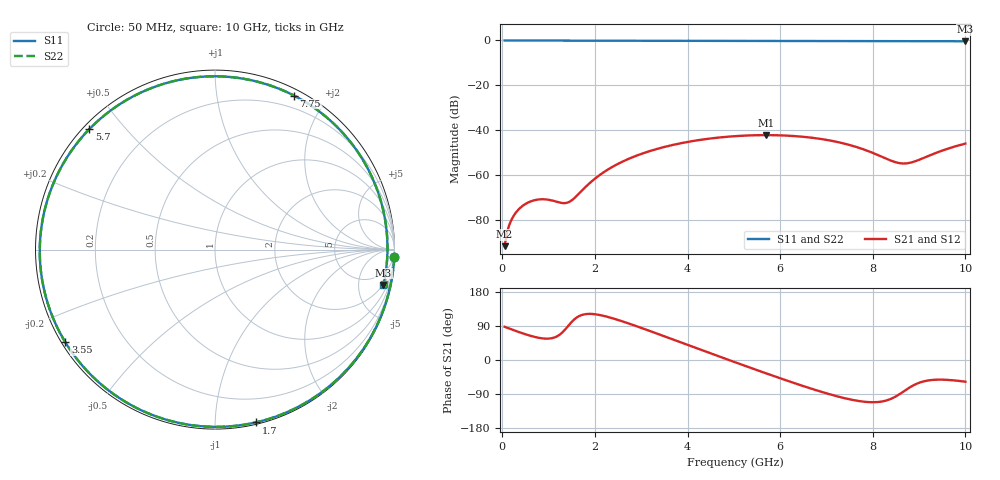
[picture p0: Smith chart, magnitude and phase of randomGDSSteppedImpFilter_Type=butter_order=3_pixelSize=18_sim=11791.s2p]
! freq	dB(S11)	phase(S11)	dB(S12)	phase(S12)
!  dB(S21)	phase(S21)	dB(S22)	phase(S22)
!S-par simulation data
#  GHz  S  DB  R 50
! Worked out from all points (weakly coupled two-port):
!   200 points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, 50 MHz to 10 GHz, reference 50 ohm
!   highest |S21| = -42.21 dB at 5.7 GHz (marker M1); lowest = -91.7 dB at 50 MHz (marker M2)
!   lowest |S11| = -0.4 dB at 10 GHz (marker M3), VSWR 47.53, Z = 94.8 - j462 ohm
!   |S11| at or under -10 dB: nowhere
!   |S22| runs from -0.4 to 0.0 dB; largest |S21 - S12| = 0
!   S11 on the Smith chart (normalised r, x): 50 MHz: 0, -48; 1.7 GHz: 0.01, -1.26; 3.55 GHz: 0.01, -0.28; 5.7 GHz: 0.02, +0.40; 7.75 GHz: 0.07, +1.63; 10 GHz: 1.90, -9.25
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0.05  -0.00 -2.4  -91.72 87.7  -91.72 87.7  -0.00 -2.4
0.2  -0.01 -9.4  -79.85 80.8  -79.85 80.8  -0.01 -9.4
0.35  -0.02 -16.4  -75.38 74.1  -75.38 74.1  -0.03 -16.4
0.6  -0.04 -28.0  -71.87 64.1  -71.87 64.1  -0.04 -28.0
0.9  -0.05 -41.7  -70.81 56.6  -70.81 56.6  -0.05 -41.7
1.4  -0.08 -63.9  -72.36 86.6  -72.36 86.6  -0.08 -63.9
1.7  -0.09 -76.7  -67.35 118.1  -67.35 118.1  -0.09 -76.7
1.75  -0.10 -78.8  -66.30 119.9  -66.30 119.9  -0.10 -78.8
2.1  -0.11 -93.2  -60.04 118.8  -60.04 118.8  -0.11 -93.2
2.45  -0.13 -107.1  -55.54 107.6  -55.54 107.6  -0.13 -107.1
3.4  -0.16 -142.8  -48.03 67.1  -48.03 67.1  -0.16 -142.8
3.55  -0.17 -148.2  -47.23 60.3  -47.23 60.3  -0.17 -148.2
4.3  -0.20 -174.8  -44.25 26.5  -44.25 26.5  -0.20 -174.8
5.05  -0.24 159.0  -42.64 -7.0  -42.64 -7.0  -0.24 159.1
5.7  -0.26 136.2  -42.21 -35.4  -42.21 -35.4  -0.26 136.3
6.7  -0.30 100.6  -43.41 -76.7  -43.41 -76.7  -0.30 100.7
7.2  -0.31 82.6  -45.11 -94.8  -45.11 -94.8  -0.31 82.7
7.75  -0.31 62.8  -48.20 -109.2  -48.20 -109.2  -0.31 63.0
8.35  -0.32 41.7  -53.23 -104.5  -53.23 -104.5  -0.32 41.8
8.8  -0.32 26.3  -54.55 -72.2  -54.55 -72.2  -0.32 26.4
9.4  -0.34 6.6  -49.86 -51.9  -49.86 -51.9  -0.34 6.8
10  -0.37 -11.9  -46.00 -57.3  -46.00 -57.3  -0.37 -11.7
